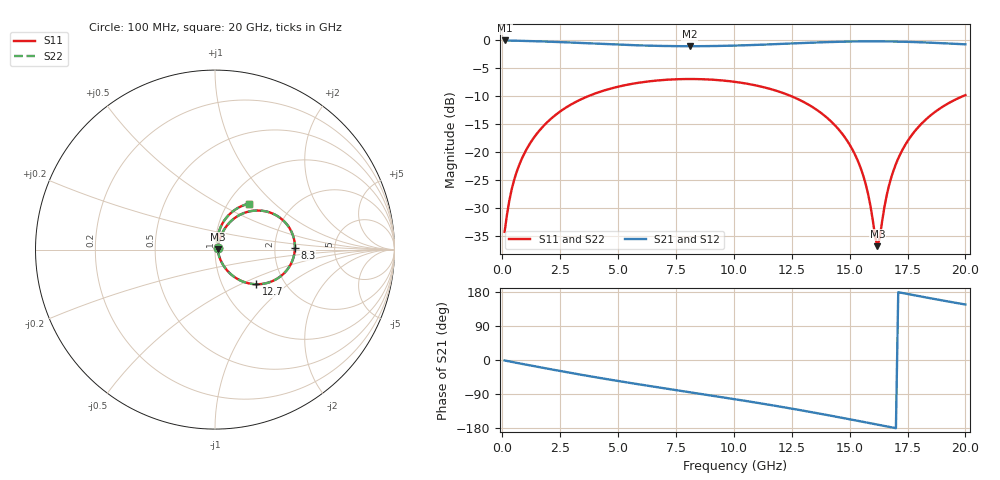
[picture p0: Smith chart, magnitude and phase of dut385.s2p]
! Touchstone file exported from HFSS 2026.1.0
!  File:  C:/ffzhzh/LocalFiles/Ansys_Project_Files/temp_train_TSV_RDL_385_1783089917_53076.aedt
!  Generated:  10:55:35 PM Jul  3, 2026
!  Design:  TSV_RDL
!  Project:  temp_train_TSV_RDL_385_1783089917_53076
! Variables:
!  h_bsmrdl = 3.8um
!  h_ox = 20um
!  h_rdl = 5um
!  h_sub = 98.91um
!  h_tmrdl = 2.13um
!  h_tsv = 98.91um
!  h_via = 3um
!  l_bsmrdl = 223.54um
!  l_sub = 3236.1um
!  l_tmrdl = 504.23um
!  m_sub = 200um
!  pitch = 57.59um
!  r_tsv = 14.5um
!  s_tmrdl = 10um
!  w_bsmrdl = 20.69um
!  w_sub = 500um
!  w_tmrdl = 28.83um
!  x_tsv_center1 = 518.645um
!  x_tsv_center2 = 762.875um
!  x_tsv_center3 = 1295.935um
!  x_tsv_center4 = 1540.165um
!  x_tsv_center5 = 2073.225um
!  x_tsv_center6 = 2317.455um
# GHz S MA R 50.000000
! Terminal data exported
! Port[1] = TM_RDL1_1_T1
! Port[2] = TM_RDL5_1_T1
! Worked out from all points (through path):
!   200 points, 100 MHz to 20 GHz, reference 50 ohm
!   highest |S21| = -0.14 dB at 100 MHz (marker M1); lowest = -1.2 dB at 8.1 GHz (marker M2)
!   group delay of S21, straight-line fit = 28.9 ps
!   lowest |S11| = -36.9 dB at 16.2 GHz (marker M3), VSWR 1.03, Z = 51.5 + j0.143 ohm
!   |S11| at or under -10 dB: start of sweep to 3.759 GHz; 12.43 GHz to 19.94 GHz (7.504 GHz wide, 46.4 % of centre)
!   |S22| runs from -37.0 to -7.0 dB; largest |S21 - S12| = 7.4e-14
!   S11 on the Smith chart (normalised r, x): 100 MHz: 1.03, +0.02; 8.3 GHz: 2.60, +0.07; 12.7 GHz: 1.44, -0.61; 20 GHz: 1.25, +0.71
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0.1  0.01928 33.4  0.9841 -1.3  0.9841 -1.3  0.01928 33.4
! Gamma 0 0 0 0
! Port Impedance 50 0 50 0
0.3  0.03633 58.0  0.9823 -3.7  0.9823 -3.7  0.03633 58.0
0.5  0.05498 64.1  0.98 -6.1  0.98 -6.1  0.05498 64.1
1.1  0.1099 66.0  0.9731 -13.1  0.9731 -13.1  0.1099 66.0
2.1  0.1968 59.2  0.9588 -24.5  0.9588 -24.5  0.1968 59.2
3.5  0.3001 46.0  0.9321 -39.9  0.9321 -39.9  0.3001 46.0
5.1  0.3846 30.7  0.9016 -56.4  0.9016 -56.4  0.3846 30.7
6.8  0.4343 15.0  0.8798 -72.8  0.8798 -72.8  0.4343 14.9
8.1  0.4457 3.2  0.8743 -85.1  0.8743 -85.1  0.4457 3.2
8.3  0.4455 1.4  0.8744 -86.9  0.8744 -86.9  0.4455 1.4
10.1  0.419 -15.1  0.8863 -104.0  0.8863 -104.0  0.419 -15.1
12.7  0.2993 -40.1  0.9287 -130.5  0.9287 -130.5  0.2993 -40.2
13.4  0.2503 -47.1  0.9412 -138.1  0.9412 -138.1  0.2503 -47.1
14.5  0.1606 -57.4  0.9575 -150.6  0.9575 -150.6  0.1606 -57.5
15.3  0.08808 -62.3  0.9646 -159.9  0.9646 -159.9  0.08804 -62.5
15.8  0.04178 -57.4  0.9664 -165.8  0.9664 -165.8  0.0417 -57.7
16.2  0.01437 5.6  0.9663 -170.5  0.9663 -170.5  0.01411 5.5
16.7  0.04985 75.4  0.9641 -176.4  0.9641 -176.4  0.04977 75.7
17.2  0.09643 77.8  0.9597 177.7  0.9597 177.7  0.09638 77.9
17.9  0.1601 73.2  0.9504 169.6  0.9504 169.6  0.1601 73.3
18.8  0.2355 64.9  0.9341 159.4  0.9341 159.4  0.2354 65.0
20  0.3203 53.2  0.9087 146.4  0.9087 146.4  0.3203 53.2
